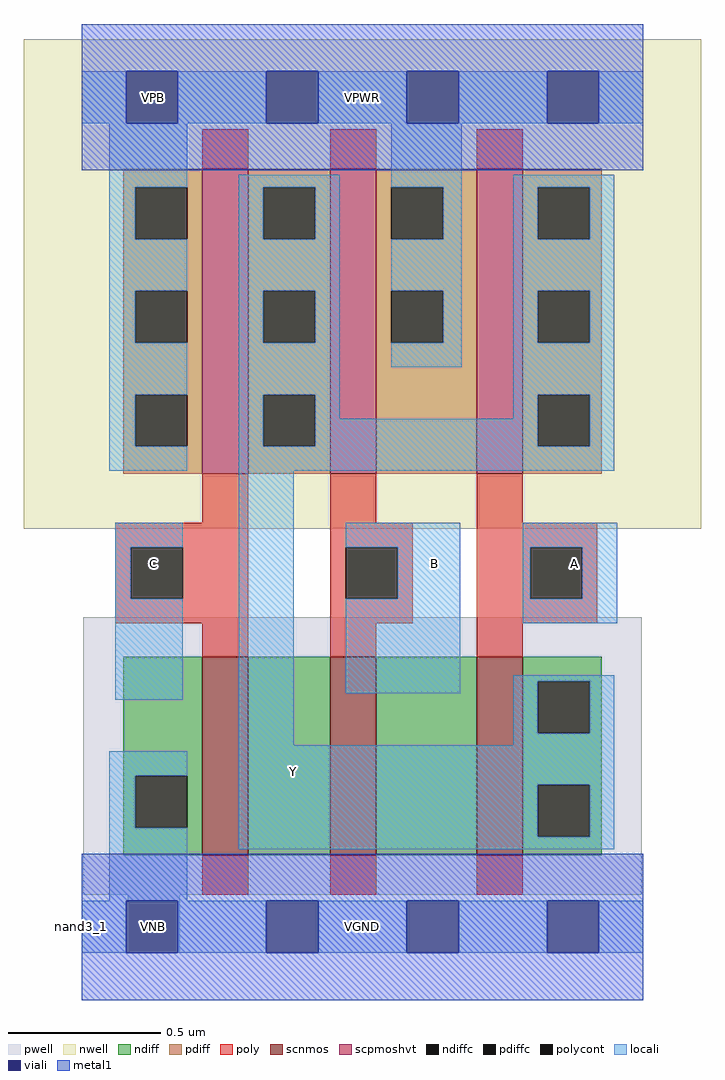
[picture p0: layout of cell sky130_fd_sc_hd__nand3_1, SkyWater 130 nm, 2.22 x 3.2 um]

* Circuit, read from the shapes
.subckt sky130_fd_sc_hd__nand3_1 A B C VGND VNB VPB VPWR Y
XM1 n1 C VGND VNB sky130_fd_pr__nfet_01v8 w=0.65 l=0.15
XM2 n2 B n1 VNB sky130_fd_pr__nfet_01v8 w=0.65 l=0.15
XM3 Y A n2 VNB sky130_fd_pr__nfet_01v8 w=0.65 l=0.15
XM4 Y C VPWR VPB sky130_fd_pr__pfet_01v8_hvt w=1 l=0.15
XM5 VPWR B Y VPB sky130_fd_pr__pfet_01v8_hvt w=1 l=0.15
XM6 Y A VPWR VPB sky130_fd_pr__pfet_01v8_hvt w=1 l=0.15
.ends

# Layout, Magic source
magic
tech sky130B
magscale 1 2
<< nwell >>
rect -38 261 406 582
<< pwell >>
rect 1 21 367 203
rect 30 -17 64 21
<< scnmos >>
rect 79 47 109 177
rect 163 47 193 177
rect 259 47 289 177
<< scpmoshvt >>
rect 79 297 109 497
rect 163 297 193 497
rect 259 297 289 497
<< ndiff >>
rect 27 99 79 177
rect 27 65 35 99
rect 69 65 79 99
rect 27 47 79 65
rect 109 47 163 177
rect 193 47 259 177
rect 289 161 341 177
rect 289 127 299 161
rect 333 127 341 161
rect 289 93 341 127
rect 289 59 299 93
rect 333 59 341 93
rect 289 47 341 59
<< pdiff >>
rect 27 485 79 497
rect 27 451 35 485
rect 69 451 79 485
rect 27 417 79 451
rect 27 383 35 417
rect 69 383 79 417
rect 27 349 79 383
rect 27 315 35 349
rect 69 315 79 349
rect 27 297 79 315
rect 109 485 163 497
rect 109 451 119 485
rect 153 451 163 485
rect 109 417 163 451
rect 109 383 119 417
rect 153 383 163 417
rect 109 349 163 383
rect 109 315 119 349
rect 153 315 163 349
rect 109 297 163 315
rect 193 485 259 497
rect 193 451 203 485
rect 237 451 259 485
rect 193 417 259 451
rect 193 383 203 417
rect 237 383 259 417
rect 193 297 259 383
rect 289 485 341 497
rect 289 451 299 485
rect 333 451 341 485
rect 289 417 341 451
rect 289 383 299 417
rect 333 383 341 417
rect 289 349 341 383
rect 289 315 299 349
rect 333 315 341 349
rect 289 297 341 315
<< ndiffc >>
rect 35 65 69 99
rect 299 127 333 161
rect 299 59 333 93
<< pdiffc >>
rect 35 451 69 485
rect 35 383 69 417
rect 35 315 69 349
rect 119 451 153 485
rect 119 383 153 417
rect 119 315 153 349
rect 203 451 237 485
rect 203 383 237 417
rect 299 451 333 485
rect 299 383 333 417
rect 299 315 333 349
<< poly >>
rect 79 497 109 523
rect 163 497 193 523
rect 259 497 289 523
rect 79 265 109 297
rect 22 249 109 265
rect 22 215 32 249
rect 66 215 109 249
rect 22 199 109 215
rect 79 177 109 199
rect 163 265 193 297
rect 259 265 289 297
rect 163 249 217 265
rect 163 215 173 249
rect 207 215 217 249
rect 163 199 217 215
rect 259 249 338 265
rect 259 215 294 249
rect 328 215 338 249
rect 259 199 338 215
rect 163 177 193 199
rect 259 177 289 199
rect 79 21 109 47
rect 163 21 193 47
rect 259 21 289 47
<< polycont >>
rect 32 215 66 249
rect 173 215 207 249
rect 294 215 328 249
<< locali >>
rect 0 527 29 561
rect 63 527 121 561
rect 155 527 213 561
rect 247 527 305 561
rect 339 527 368 561
rect 18 485 69 527
rect 18 451 35 485
rect 18 417 69 451
rect 18 383 35 417
rect 18 349 69 383
rect 18 315 35 349
rect 18 299 69 315
rect 103 485 169 493
rect 103 451 119 485
rect 153 451 169 485
rect 103 417 169 451
rect 103 383 119 417
rect 153 383 169 417
rect 103 349 169 383
rect 203 485 249 527
rect 237 451 249 485
rect 203 417 249 451
rect 237 383 249 417
rect 203 367 249 383
rect 283 485 349 493
rect 283 451 299 485
rect 333 451 349 485
rect 283 417 349 451
rect 283 383 299 417
rect 333 383 349 417
rect 103 315 119 349
rect 153 333 169 349
rect 283 349 349 383
rect 283 333 299 349
rect 153 315 299 333
rect 333 315 349 349
rect 103 299 349 315
rect 22 249 66 265
rect 22 215 32 249
rect 22 149 66 215
rect 103 119 139 299
rect 173 249 248 265
rect 207 215 248 249
rect 173 153 248 215
rect 289 249 351 265
rect 289 215 294 249
rect 328 215 351 249
rect 289 199 351 215
rect 283 161 349 165
rect 283 127 299 161
rect 333 127 349 161
rect 283 119 349 127
rect 18 99 69 115
rect 18 65 35 99
rect 18 17 69 65
rect 103 93 349 119
rect 103 59 299 93
rect 333 59 349 93
rect 103 51 349 59
rect 0 -17 29 17
rect 63 -17 121 17
rect 155 -17 213 17
rect 247 -17 305 17
rect 339 -17 368 17
<< viali >>
rect 29 527 63 561
rect 121 527 155 561
rect 213 527 247 561
rect 305 527 339 561
rect 29 -17 63 17
rect 121 -17 155 17
rect 213 -17 247 17
rect 305 -17 339 17
<< metal1 >>
rect 0 561 368 592
rect 0 527 29 561
rect 63 527 121 561
rect 155 527 213 561
rect 247 527 305 561
rect 339 527 368 561
rect 0 496 368 527
rect 0 17 368 48
rect 0 -17 29 17
rect 63 -17 121 17
rect 155 -17 213 17
rect 247 -17 305 17
rect 339 -17 368 17
rect 0 -48 368 -17
<< labels >>
flabel locali s 122 85 156 119 0 FreeSans 250 0 0 0 Y
port 8 nsew signal output
flabel locali s 306 221 340 255 0 FreeSans 250 0 0 0 A
port 1 nsew signal input
flabel locali s 30 221 64 255 0 FreeSans 250 0 0 0 C
port 3 nsew signal input
flabel locali s 214 221 248 255 0 FreeSans 250 0 0 0 B
port 2 nsew signal input
flabel nwell s 30 527 64 561 0 FreeSans 200 0 0 0 VPB
port 6 nsew power bidirectional
flabel pwell s 30 -17 64 17 0 FreeSans 200 0 0 0 VNB
port 5 nsew ground bidirectional
flabel metal1 s 30 -17 64 17 0 FreeSans 200 0 0 0 VGND
port 4 nsew ground bidirectional abutment
flabel metal1 s 30 527 64 561 0 FreeSans 200 0 0 0 VPWR
port 7 nsew power bidirectional abutment
rlabel comment s 0 0 0 0 4 nand3_1
rlabel metal1 s 0 -48 368 48 1 VGND
port 4 nsew ground bidirectional abutment
rlabel metal1 s 0 496 368 592 1 VPWR
port 7 nsew power bidirectional abutment
<< properties >>
string FIXED_BBOX 0 0 368 544
string GDS_END 1819880
string GDS_FILE $PDKPATH/libs.ref/sky130_fd_sc_hd/gds/sky130_fd_sc_hd.gds
string GDS_START 1815538
string LEFclass CORE
string LEFsite unithd
string LEFsymmetry X Y R90
string path 0.000 0.000 9.200 0.000 
<< end >>
